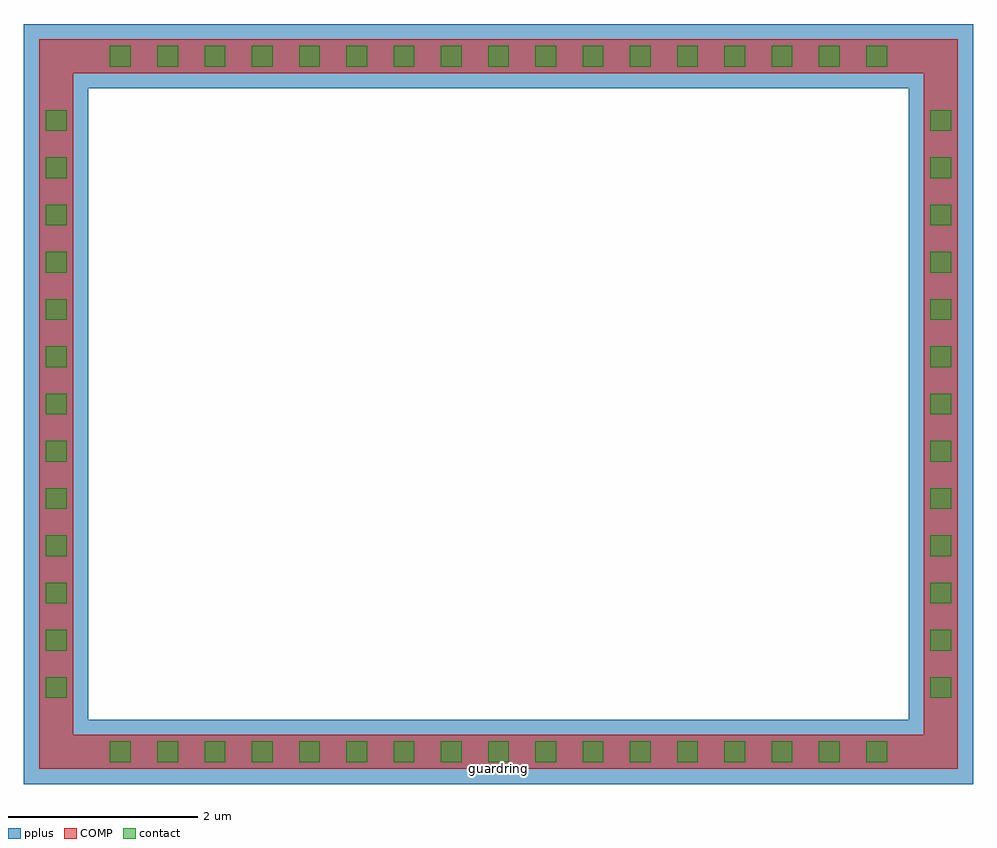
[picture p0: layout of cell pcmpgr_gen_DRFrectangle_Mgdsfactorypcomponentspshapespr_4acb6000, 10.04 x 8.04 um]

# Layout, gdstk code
import gdstk
lib = gdstk.Library(unit=1e-6, precision=1e-09)
def R(c, l, rs):  # rectangles x0, y0, x1, y1
    for r in rs: c.add(gdstk.rectangle(r[:2], r[2:], *l))
def P(c, l, *ps):  # polygons
    for p in ps: c.add(gdstk.Polygon(p, *l))
COMP = (22, 0)
pplus = (31, 0)
contact = (33, 0)

unnamed_119 = lib.new_cell('Unnamed_119')
P(unnamed_119, COMP, [(-2.86,-2.86),(-2.86,4.5),(-2.5,4.5),(-2.5,-2.5),(6.5,-2.5),(6.5,4.5),(-2.86,4.5),(-2.86,4.86),(6.86,4.86),(6.86,-2.86)])

unnamed_124 = lib.new_cell('Unnamed_124')
P(unnamed_124, pplus, [(-3.02,-3.02),(-3.02,4.34),(-2.34,4.34),(-2.34,-2.34),(6.34,-2.34),(6.34,4.34),(-3.02,4.34),(-3.02,5.02),(7.02,5.02),(7.02,-3.02)])

rectangle_gdsfactorypcom = lib.new_cell('rectangle_gdsfactorypcomponentspshapesprectangle_S0p22__bfea7709')
R(rectangle_gdsfactorypcom, contact, [(0,0,0.22,0.22)])

via_generator_xrm2p28_6p = lib.new_cell('via_generator_XRm2p28_6p28_YRm2p86_m2p5_VS0p22_0p22_VLc_ec126b7f')
r = gdstk.Reference(rectangle_gdsfactorypcom, (-2.11,-2.79)); r.repetition = gdstk.Repetition(17, 1, v1=(0.5,0), v2=(0,0)); via_generator_xrm2p28_6p.add(r)

c_via_generator_xrm2p28_6p = lib.new_cell('via_generator_XRm2p28_6p28_YR4p5_4p86_VS0p22_0p22_VLcon_2a06ddbd')
r = gdstk.Reference(rectangle_gdsfactorypcom, (-2.11,4.57)); r.repetition = gdstk.Repetition(17, 1, v1=(0.5,0), v2=(0,0)); c_via_generator_xrm2p28_6p.add(r)

via_generator_xrm2p86_m2 = lib.new_cell('via_generator_XRm2p86_m2p5_YRm2p28_4p28_VS0p22_0p22_VLc_d201455a')
r = gdstk.Reference(rectangle_gdsfactorypcom, (-2.79,-2.11)); r.repetition = gdstk.Repetition(1, 13, v1=(0,0), v2=(0,0.5)); via_generator_xrm2p86_m2.add(r)

via_generator_xr6p5_6p86 = lib.new_cell('via_generator_XR6p5_6p86_YRm2p28_4p28_VS0p22_0p22_VLcon_e3491f3b')
r = gdstk.Reference(rectangle_gdsfactorypcom, (6.57,-2.11)); r.repetition = gdstk.Repetition(1, 13, v1=(0,0), v2=(0,0.5)); via_generator_xr6p5_6p86.add(r)

unnamed_133 = lib.new_cell('Unnamed_133')

pcmpgr_gen_drfrectangle_ = lib.new_cell('pcmpgr_gen_DRFrectangle_Mgdsfactorypcomponentspshapespr_4acb6000')
pcmpgr_gen_drfrectangle_.add(gdstk.Reference(unnamed_119, (0,0)))
pcmpgr_gen_drfrectangle_.add(gdstk.Reference(unnamed_124, (0,0)))
pcmpgr_gen_drfrectangle_.add(gdstk.Reference(via_generator_xrm2p28_6p, (0,0)))
pcmpgr_gen_drfrectangle_.add(gdstk.Reference(c_via_generator_xrm2p28_6p, (0,0)))
pcmpgr_gen_drfrectangle_.add(gdstk.Reference(via_generator_xrm2p86_m2, (0,0)))
pcmpgr_gen_drfrectangle_.add(gdstk.Reference(via_generator_xr6p5_6p86, (0,0)))
pcmpgr_gen_drfrectangle_.add(gdstk.Reference(unnamed_133, (0,0)))
pcmpgr_gen_drfrectangle_.add(gdstk.Label('guardring', (2,-2.86), layer=34, texttype=10))

lib.write_gds('pcmpgr_gen_DRFrectangle_Mgdsfactorypcomponentspshapespr_4acb6000.gds')
